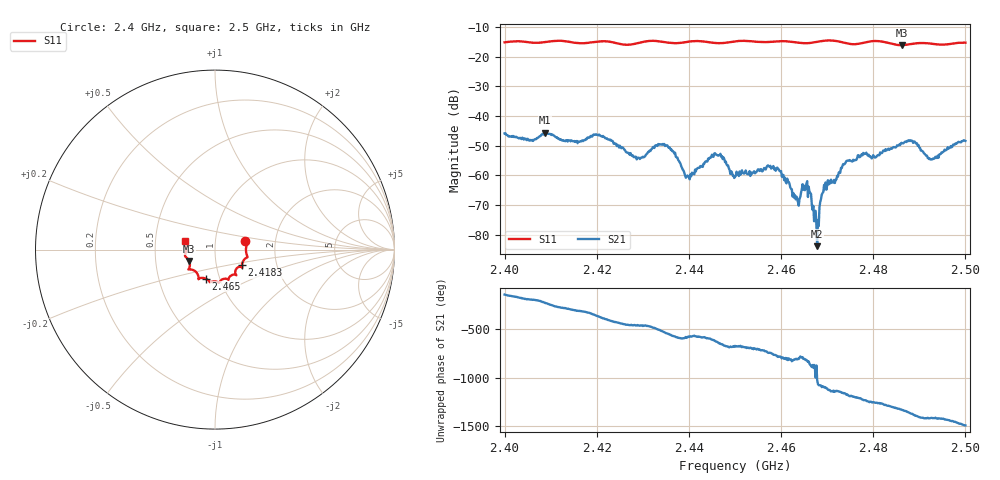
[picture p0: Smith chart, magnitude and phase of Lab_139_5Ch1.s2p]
# Hz S RI R 50
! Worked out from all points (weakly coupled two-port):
!   601 points, 2.4 GHz to 2.5 GHz, reference 50 ohm
!   highest |S21| = -45.63 dB at 2.4088 GHz (marker M1); lowest = -83.9 dB at 2.4678 GHz (marker M2)
!   lowest |S11| = -16.1 dB at 2.4862 GHz (marker M3), VSWR 1.37, Z = 37.2 - j4.83 ohm
!   |S11| at or under -10 dB: start of sweep to end of sweep
!   S12 and S22 are empty: the file has one direction only
!   S11 on the Smith chart (normalised r, x): 2.4 GHz: 1.40, +0.13; 2.4183 GHz: 1.33, -0.24; 2.465 GHz: 0.86, -0.29; 2.5 GHz: 0.71, +0.07
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2.4e9  0.1694 0.046  -0.004 -0.00318  0 0  0 0
2.408833e9  0.1757 -0.0254  -0.00338 0.00399  0 0  0 0
2.416667e9  0.155 -0.0682  0.00255 0.00278  0 0  0 0
2.418333e9  0.1498 -0.0872  0.00372 0.00221  0 0  0 0
2.429167e9  0.1124 -0.1304  -0.000369 -0.00195  0 0  0 0
2.433333e9  0.1175 -0.141  -0.00272 -0.00202  0 0  0 0
2.4365e9  0.0949 -0.1416  -0.00228 0.00123  0 0  0 0
2.439667e9  0.0763 -0.1617  -0.000734 0.000674  0 0  0 0
2.446e9  0.0531 -0.162  -9.6e-05 0.00223  0 0  0 0
2.45e9  0.0255 -0.1807  0.000623 0.000712  0 0  0 0
2.4575e9  -0.0139 -0.1779  0.0013 -0.000533  0 0  0 0
2.4595e9  -0.0258 -0.1815  0.000637 -0.0011  0 0  0 0
2.463333e9  -0.0378 -0.1707  3.46e-05 -0.000438  0 0  0 0
2.465e9  -0.0524 -0.1618  6.32e-05 -0.000667  0 0  0 0
2.466667e9  -0.0713 -0.1573  -0.000321 -6.25e-05  0 0  0 0
2.467833e9  -0.0825 -0.1589  3.5e-05 5.37e-05  0 0  0 0
2.469167e9  -0.0902 -0.1629  0.000509 -0.000139  0 0  0 0
2.473833e9  -0.0938 -0.1443  0.000226 -0.00155  0 0  0 0
2.483333e9  -0.1414 -0.0965  -0.00249 0.00135  0 0  0 0
2.486167e9  -0.1439 -0.0634  -0.00125 0.00332  0 0  0 0
2.492667e9  -0.1649 -0.023  0.00167 0.000839  0 0  0 0
2.5e9  -0.167 0.0471  0.00235 -0.00301  0 0  0 0
